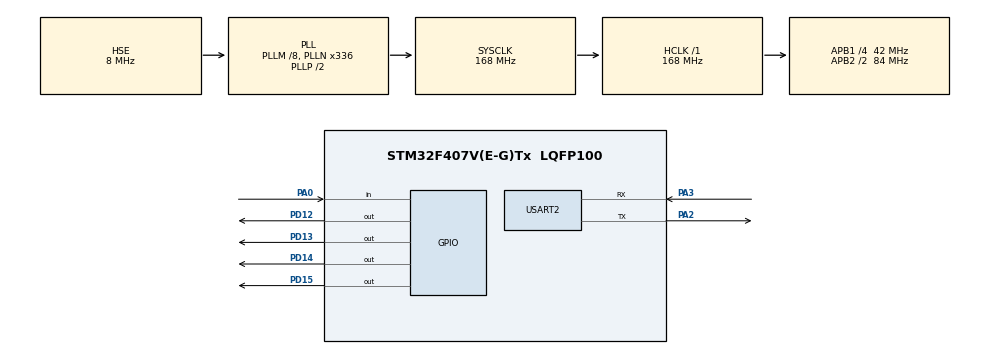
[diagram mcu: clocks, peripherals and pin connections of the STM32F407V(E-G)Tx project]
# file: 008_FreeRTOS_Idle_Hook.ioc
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FREERTOS.Tasks01=defaultTask,24,128,StartDefaultTask,Default,NULL,Dynamic,NULL,NULL
FREERTOS.configUSE_NEWLIB_REENTRANT=1
Mcu.Family=STM32F4
Mcu.Name=STM32F407V(E-G)Tx
Mcu.Package=LQFP100
NVIC.PriorityGroup=NVIC_PRIORITYGROUP_4
NVIC.TIM8_TRG_COM_TIM14_IRQn=true\:15\:0\:false\:false\:true\:false\:false\:true\:true
NVIC.TimeBase=TIM8_TRG_COM_TIM14_IRQn
NVIC.TimeBaseIP=TIM14
PA0-WKUP.Signal=GPIO_Input
PA2.Mode=Asynchronous
PA2.Signal=USART2_TX
PA3.Mode=Asynchronous
PA3.Signal=USART2_RX
PD12.Signal=GPIO_Output
PD13.Signal=GPIO_Output
PD14.Signal=GPIO_Output
PD15.Signal=GPIO_Output
PH0-OSC_IN.Mode=HSE-External-Oscillator
PH0-OSC_IN.Signal=RCC_OSC_IN
PH1-OSC_OUT.Mode=HSE-External-Oscillator
PH1-OSC_OUT.Signal=RCC_OSC_OUT
ProjectManager.HeapSize=0x200
ProjectManager.StackSize=0x400
ProjectManager.TargetToolchain=STM32CubeIDE
RCC.48MHZClocksFreq_Value=48000000
RCC.AHBFreq_Value=168000000
RCC.APB1CLKDivider=RCC_HCLK_DIV4
RCC.APB1Freq_Value=42000000
RCC.APB1TimFreq_Value=84000000
RCC.APB2CLKDivider=RCC_HCLK_DIV2
RCC.APB2Freq_Value=84000000
RCC.APB2TimFreq_Value=168000000
RCC.CortexFreq_Value=168000000
RCC.HCLKFreq_Value=168000000
RCC.HSE_VALUE=8000000
RCC.HSI_VALUE=16000000
RCC.LSE_VALUE=32768
RCC.PLLM=8
RCC.PLLN=336
RCC.PLLQ=7
RCC.PLLSourceVirtual=RCC_PLLSOURCE_HSE
RCC.SYSCLKFreq_VALUE=168000000
RCC.SYSCLKSource=RCC_SYSCLKSOURCE_PLLCLK
RCC.VCOOutputFreq_Value=336000000
USART2.VirtualMode=VM_ASYNC
VP_FREERTOS_VS_CMSIS_V2.Mode=CMSIS_V2
VP_SYS_VS_tim14.Mode=TIM14
board=STM32F407G-DISC1

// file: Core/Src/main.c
/* USER CODE BEGIN Header */
/**
  ******************************************************************************
  * @file           : main.c
  * @brief          : Main program body
  ******************************************************************************
  * @attention
  *
  * Copyright (c) 2023 STMicroelectronics.
  * All rights reserved.
  *
  * This software is licensed under terms that can be found in the LICENSE file
  * in the root directory of this software component.
  * If no LICENSE file comes with this software, it is provided AS-IS.
  *
  ******************************************************************************
  */
/* USER CODE END Header */
#include "main.h"
#include "cmsis_os.h"

/* USER CODE BEGIN Includes */
#include "FreeRTOS.h"
#include "task.h"
#include <stdio.h>
/* USER CODE END Includes */

UART_HandleTypeDef huart2;

/* Definitions for defaultTask */
//osThreadId_t defaultTaskHandle;
//const osThreadAttr_t defaultTask_attributes = {
//  .name = "defaultTask",
//  .stack_size = 128 * 4,
//  .priority = (osPriority_t) osPriorityNormal,
//};
/* USER CODE BEGIN PV */
volatile uint32_t ulIdleCycleCount = 0;
/* USER CODE END PV */

void SystemClock_Config(void);
static void MX_GPIO_Init(void);
static void MX_USART2_UART_Init(void);
void StartDefaultTask(void *argument);

/* USER CODE BEGIN 0 */
void vApplicationIdleHook(void)
{
	//#define configUSE_IDLE_HOOK                      1 yapmayı unutma FreeRTOSConfig.h içerisinde
	ulIdleCycleCount++;
}
void vTask2(void * pvParameters)
{
	char *GorevAdi = (char *) pvParameters;
	TickType_t xLastWakeTime;
	xLastWakeTime = xTaskGetTickCount();
	for(;;)
	{
		HAL_UART_Transmit(&huart2, (uint8_t *)GorevAdi, 19, 0xFFFF);
		vTaskDelayUntil(&xLastWakeTime, pdMS_TO_TICKS(200));
	}
}
void vTask1(void * pvParameters)
{
	char *GorevAdi = (char *)pvParameters;
	const TickType_t xDelay250ms = pdMS_TO_TICKS(200);
	for(;;)
	{
		HAL_UART_Transmit(&huart2, (uint8_t *)GorevAdi, 19, 0xFFFF);
		vTaskDelay(xDelay250ms);
	}
}
void vTaskFunction(void * pvParameters)
{
	char *GorevAdi;
	char Output[40];
	GorevAdi = (char *) pvParameters;
	const TickType_t xDelay250ms = pdMS_TO_TICKS(999);
	for(;;)
	{
		sprintf(Output, "IdleTick : %d", ulIdleCycleCount);
		HAL_UART_Transmit(&huart2, (uint8_t *)Output, 19, 0xFFFF);
		vTaskDelay(xDelay250ms);
	}
}
/* USER CODE END 0 */

int main(void)
{
  /* USER CODE BEGIN 1 */
  static const char *Gorev1Metin = "Gorev 1 calisiyor\r\n";
  static const char *Gorev2Metin = "Gorev 2 calisiyor\r\n";
  static const char *Gorev3Metin = "ulIdleCycleCount: %d";
  /* USER CODE END 1 */

  /* MCU Configuration--------------------------------------------------------*/

  /* Reset of all peripherals, Initializes the Flash interface and the Systick. */
  HAL_Init();

  /* Configure the system clock */
  SystemClock_Config();

  /* Initialize all configured peripherals */
  MX_GPIO_Init();
  MX_USART2_UART_Init();
  /* USER CODE BEGIN 2 */
  xTaskCreate(vTask1, "Task 1", configMINIMAL_STACK_SIZE, (void*)Gorev1Metin, 1, NULL);
  xTaskCreate(vTask2, "Task 2", configMINIMAL_STACK_SIZE, (void*)Gorev2Metin, 2, NULL);
  xTaskCreate(vTaskFunction, "vTaskFunc", configMINIMAL_STACK_SIZE,(void *)Gorev3Metin,3, NULL);
  vTaskStartScheduler();
  /* USER CODE END 2 */

  /* Init scheduler */
  //osKernelInitialize();

  /* Create the thread(s) */
  /* creation of defaultTask */
  //defaultTaskHandle = osThreadNew(StartDefaultTask, NULL, &defaultTask_attributes);

  /* Start scheduler */
  //osKernelStart();
  /* We should never get here as control is now taken by the scheduler */
  /* Infinite loop */
  while (1)
  {

  }
}

void SystemClock_Config(void)
{
  RCC_OscInitTypeDef RCC_OscInitStruct = {0};
  RCC_ClkInitTypeDef RCC_ClkInitStruct = {0};

  /** Configure the main internal regulator output voltage
  */
  __HAL_RCC_PWR_CLK_ENABLE();
  __HAL_PWR_VOLTAGESCALING_CONFIG(PWR_REGULATOR_VOLTAGE_SCALE1);

  /** Initializes the RCC Oscillators according to the specified parameters
  * in the RCC_OscInitTypeDef structure.
  */
  RCC_OscInitStruct.OscillatorType = RCC_OSCILLATORTYPE_HSE;
  RCC_OscInitStruct.HSEState = RCC_HSE_ON;
  RCC_OscInitStruct.PLL.PLLState = RCC_PLL_ON;
  RCC_OscInitStruct.PLL.PLLSource = RCC_PLLSOURCE_HSE;
  RCC_OscInitStruct.PLL.PLLM = 8;
  RCC_OscInitStruct.PLL.PLLN = 336;
  RCC_OscInitStruct.PLL.PLLP = RCC_PLLP_DIV2;
  RCC_OscInitStruct.PLL.PLLQ = 7;
  if (HAL_RCC_OscConfig(&RCC_OscInitStruct) != HAL_OK)
  {
    Error_Handler();
  }

  /** Initializes the CPU, AHB and APB buses clocks
  */
  RCC_ClkInitStruct.ClockType = RCC_CLOCKTYPE_HCLK|RCC_CLOCKTYPE_SYSCLK
                              |RCC_CLOCKTYPE_PCLK1|RCC_CLOCKTYPE_PCLK2;
  RCC_ClkInitStruct.SYSCLKSource = RCC_SYSCLKSOURCE_PLLCLK;
  RCC_ClkInitStruct.AHBCLKDivider = RCC_SYSCLK_DIV1;
  RCC_ClkInitStruct.APB1CLKDivider = RCC_HCLK_DIV4;
  RCC_ClkInitStruct.APB2CLKDivider = RCC_HCLK_DIV2;

  if (HAL_RCC_ClockConfig(&RCC_ClkInitStruct, FLASH_LATENCY_5) != HAL_OK)
  {
    Error_Handler();
  }
}

static void MX_USART2_UART_Init(void)
{

  huart2.Instance = USART2;
  huart2.Init.BaudRate = 115200;
  huart2.Init.WordLength = UART_WORDLENGTH_8B;
  huart2.Init.StopBits = UART_STOPBITS_1;
  huart2.Init.Parity = UART_PARITY_NONE;
  huart2.Init.Mode = UART_MODE_TX_RX;
  huart2.Init.HwFlowCtl = UART_HWCONTROL_NONE;
  huart2.Init.OverSampling = UART_OVERSAMPLING_16;
  if (HAL_UART_Init(&huart2) != HAL_OK)
  {
    Error_Handler();
  }

}

static void MX_GPIO_Init(void)
{
  GPIO_InitTypeDef GPIO_InitStruct = {0};

  /* GPIO Ports Clock Enable */
  __HAL_RCC_GPIOH_CLK_ENABLE();
  __HAL_RCC_GPIOA_CLK_ENABLE();
  __HAL_RCC_GPIOD_CLK_ENABLE();

  /*Configure GPIO pin Output Level */
  HAL_GPIO_WritePin(GPIOD, GPIO_PIN_12|GPIO_PIN_13|GPIO_PIN_14|GPIO_PIN_15, GPIO_PIN_RESET);

  /*Configure GPIO pin : PA0 */
  GPIO_InitStruct.Pin = GPIO_PIN_0;
  GPIO_InitStruct.Mode = GPIO_MODE_INPUT;
  GPIO_InitStruct.Pull = GPIO_NOPULL;
  HAL_GPIO_Init(GPIOA, &GPIO_InitStruct);

  /*Configure GPIO pins : PD12 PD13 PD14 PD15 */
  GPIO_InitStruct.Pin = GPIO_PIN_12|GPIO_PIN_13|GPIO_PIN_14|GPIO_PIN_15;
  GPIO_InitStruct.Mode = GPIO_MODE_OUTPUT_PP;
  GPIO_InitStruct.Pull = GPIO_NOPULL;
  GPIO_InitStruct.Speed = GPIO_SPEED_FREQ_LOW;
  HAL_GPIO_Init(GPIOD, &GPIO_InitStruct);

}

void StartDefaultTask(void *argument)
{
  for(;;)
  {
    osDelay(1);
  }
}

void HAL_TIM_PeriodElapsedCallback(TIM_HandleTypeDef *htim)
{
  if (htim->Instance == TIM14) {
    HAL_IncTick();
  }
}

void Error_Handler(void)
{
  __disable_irq();
  while (1)
  {
  }
}
